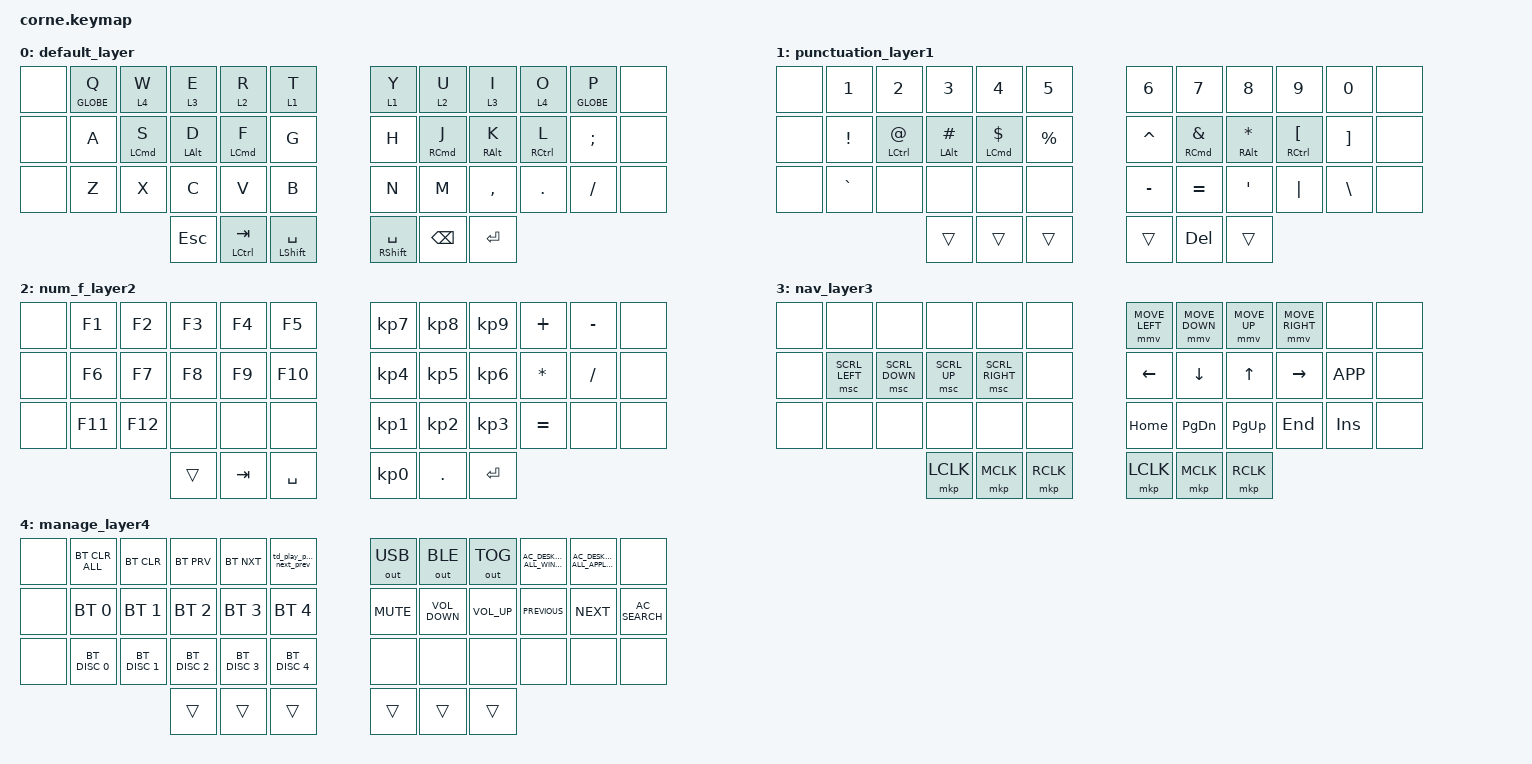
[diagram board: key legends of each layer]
#define ZMK_POINTING_DEFAULT_MOVE_VAL 1500  // default: 600
#define ZMK_POINTING_DEFAULT_SCRL_VAL 20    // default: 10

#include <dt-bindings/zmk/pointing.h>
#include <behaviors.dtsi>
#include <dt-bindings/zmk/keys.h>
#include <dt-bindings/zmk/bt.h>
#include <dt-bindings/zmk/outputs.h>

&mmv {
    x-input-code = <INPUT_REL_X>;
    y-input-code = <INPUT_REL_Y>;
    time-to-max-speed-ms = <300>;
    acceleration-exponent = <1>;
};
&mt {
    tapping-term-ms = <250>;  // увеличить время одиночного нажатия до 300 мс
};
&msc {
    x-input-code = <INPUT_REL_HWHEEL>;
    y-input-code = <INPUT_REL_WHEEL>;
    time-to-max-speed-ms = <300>;
    acceleration-exponent = <0>;
};

#define DEFAULT 0
// #define PUNCTUATION_LAYER  1
// #define NUM_LAYER 2
// #define NAV_LAYER 3
// #define MANAGE_LAYER 4


/ {
  macros {
        // Макрос с явным порядком зажатия и отпускания
        super_space_macro: super_space_macro {
            compatible = "zmk,behavior-macro";
            #binding-cells = <0>;
            wait-ms = <10>;
            tap-ms = <10>;
            bindings
                = <&macro_press &kp LWIN>    // 1. Зажимаем Super (LWIN / LGUI)
                , <&macro_tap &kp SPACE>       // 2. Нажимаем и отпускаем Tab
                , <&macro_release &kp LWIN>; // 3. Отпускаем Super
        };
    };
  behaviors {
        td_play_pause_next_prev: tap_dance_0 {
            compatible = "zmk,behavior-tap-dance";
            #binding-cells = <0>;
            tapping-term-ms = <200>;
            bindings = <&kp C_PLAY_PAUSE>, <&kp C_NEXT>, <&kp C_PREV>;
        };
    };
  combos {  // Нумерация начинается с 0, в ряду 10 кнопок, не 12!
        compatible = "zmk,combos";
        combo_return {
            timeout-ms = <100>;
            key-positions = <16 17>;
            bindings = <&kp RET>;
        };
        combo_esc {
            timeout-ms = <100>;
            key-positions = <0 1>;
            bindings = <&kp ESC>;
        };
        combo_tab {
            timeout-ms = <100>;
            key-positions = <10 11>;
            bindings = <&kp TAB>;
        };
	combo_super_space {
            timeout-ms = <50>;
            key-positions = <23 24>;
            // Вызываем созданный макрос при нажатии 23 и 24 клавиш
            bindings = <&super_space_macro>;
        };
	combo_super_space_right {
            timeout-ms = <50>;
            key-positions = <25 26>;
            // Вызываем созданный макрос при нажатии 25 и 26 клавиш
            bindings = <&super_space_macro>;
        };
    };
        keymap {
                compatible = "zmk,keymap";

                default_layer {
                        bindings = <
&none &mt GLOBE Q &lt 4 W     &lt 3 E    &lt 2 R     &lt 1 T                    &lt 1 Y     &lt 2 U        &lt 3 I     &lt 4 O     &mt GLOBE P      &none
&none &kp A       &mt LCMD S &mt LALT D &mt LCMD F  &kp G                      &kp H       &mt RCMD J     &mt RALT K  &mt RCTRL L  &kp SEMI   &none
&none &kp Z       &kp X       &kp C      &kp V       &kp B                      &kp N       &kp M          &kp COMMA   &kp DOT     &kp FSLH         &none
             &kp ESC    &mt LCTRL TAB     &mt LSHIFT SPACE                       &mt RSHIFT SPACE       &kp BSPC  &kp RET
                        >;
                };
                punctuation_layer1 {
                  bindings = <
&none &kp N1      &kp N2             &kp N3         &kp N4          &kp N5          &kp N6         &kp N7              &kp N8             &kp N9         &kp N0   &none
&none &kp EXCL    &mt LCTRL AT_SIGN  &mt LALT HASH  &mt LCMD DOLLAR &kp PERCENT     &kp CARET      &mt RCMD AMPERSAND  &mt RALT ASTERISK  &mt RCTRL LBKT &kp RBKT &none
&none &kp GRAVE   &none              &none          &none           &none           &kp MINUS      &kp EQUAL           &kp APOSTROPHE     &kp PIPE       &kp BSLH &none
                                     &trans         &trans          &trans          &trans      &kp DELETE     &trans  
                  >;
                };
                num_f_layer2 {
                        bindings = <
&none &kp F1   &kp F2     &kp F3   &kp F4   &kp F5                         &kp KP_N7   &kp KP_N8   &kp KP_N9  &kp PLUS  &kp MINUS  &none
&none &kp F6   &kp F7     &kp F8   &kp F9   &kp F10                        &kp KP_N4   &kp KP_N5   &kp KP_N6  &kp ASTERISK  &kp FSLH  &none
&none &kp F11  &kp F12    &none    &none    &none                          &kp KP_N1   &kp KP_N2   &kp KP_N3  &kp EQUAL  &none  &none
                                &trans &kp TAB &kp SPACE                    &kp KP_N0   &kp DOT     &kp RET
                        >;
                };

                nav_layer3 {
                        bindings = <
&none   &none &none &none &none &none                                       &mmv MOVE_LEFT &mmv MOVE_DOWN    &mmv MOVE_UP  &mmv MOVE_RIGHT &none         &none
&none   &msc SCRL_LEFT &msc SCRL_DOWN &msc SCRL_UP &msc SCRL_RIGHT &none    &kp LEFT       &kp DOWN          &kp UP        &kp RIGHT &kp K_APP     &none
&none   &none &none &none &none &none                                       &kp HOME       &kp PG_DN         &kp PG_UP     &kp END         &kp INSERT    &none
                                &mkp LCLK &mkp MCLK &mkp RCLK               &mkp LCLK &mkp MCLK &mkp RCLK
                        >;
                };
                manage_layer4 {
                        bindings = <
&none &bt BT_CLR_ALL &bt BT_CLR    &bt BT_PRV    &bt BT_NXT     &td_play_pause_next_prev    &out OUT_USB &out OUT_BLE &out OUT_TOG  &kp C_AC_DESKTOP_SHOW_ALL_WINDOWS &kp C_AC_DESKTOP_SHOW_ALL_APPLICATIONS &none
&none &bt BT_SEL 0   &bt BT_SEL 1  &bt BT_SEL 2  &bt BT_SEL 3   &bt BT_SEL  4               &kp C_MUTE &kp C_VOLUME_DOWN &kp C_VOLUME_UP &kp C_PREVIOUS &kp C_NEXT &kp C_AC_SEARCH
&none &bt BT_DISC 0  &bt BT_DISC 1 &bt BT_DISC 2 &bt BT_DISC 3  &bt BT_DISC 4               &none   &none &none &none &none &none
                                &trans &trans &trans                                        &trans &trans &trans
                        >;
                };
        };
};

